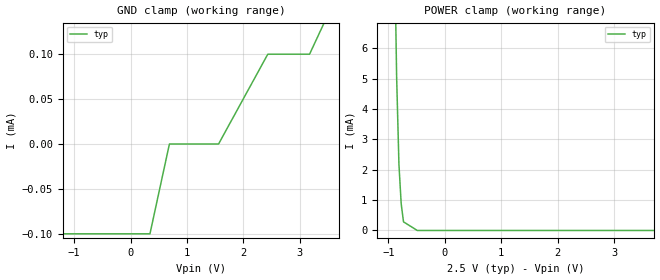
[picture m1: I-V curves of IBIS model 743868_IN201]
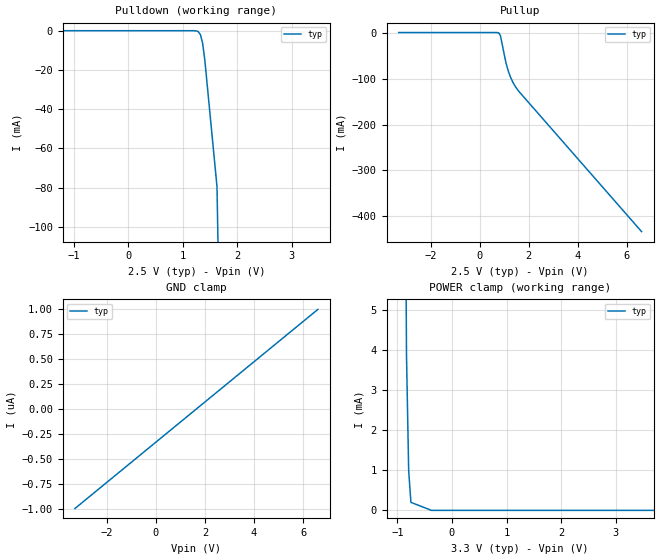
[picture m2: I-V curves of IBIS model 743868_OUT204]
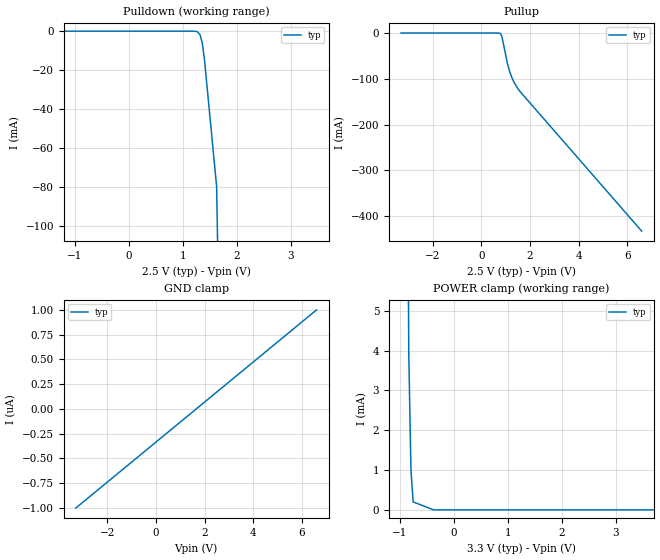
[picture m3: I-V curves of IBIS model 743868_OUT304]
| YOU ARE ONLY AUTHORIZED TO USE THIS SOFTWARE
| ACCORDING TO LICENSOR'S LICENSE RESTRICTIONS.
[IBIS Ver] 3.1
[File Name] nbsg16vsba400_25v.ibs
[File Rev] 1
[Source] Derived from nbsg16ba_33v.ibs Measured and created
|   by ICX Technology
[Date]  9/26/2002
[Copyright]
| (C) COPYRIGHT 1993-2001
| MENTOR GRAPHICS CORPORATION
| ICX STANDARD LIBRARY, ICX PROJECT MODELING,
| ICX CUSTOM MODELING, ICX VENDOR MODEL
| ALL RIGHTS RESERVED.
| THE FOLLOWING ARE TRADEMARKS OR SERVICE MARKS OF
| MENTOR GRAPHICS CORPORATION:ICX (R), ICX STANDARD
| LIBRARY(R), ICX PROJECT MODELING(R), ICX CUSTOM
| MODELING(R), qualityIBIS(TM), MODELVIEWER(TM),
| AND MODELEDITOR(TM)
| ALL COPIES OF SOFTWARE, INCLUDING BUT NOT LIMITED TO
| ANY MODIFICATIONS, ENHANCEMENTS OR DERIVATIVE WORKS,
| MUST CONTAIN ALL MENTOR GRAPHICS CORPORATION'S
| NOTICES AND LEGENDS, INCLUDING THOSE EMBEDDED IN
| SOFTWARE AND THOSE AFFIXED TO SOFTWARE MEDIUM
| AND CONTAINER, AS RECEIVED FROM MENTOR GRAPHICS
| CORPORATION.
|  ZAP Model Builder 3.2
[Component] NBSG16VSBA400_25V
[Manufacturer] OnSemico
[Package]
| variable   typ   min   max
R_pkg  .154ohms NA NA
L_pkg  1.727nH NA NA
C_pkg  1.114pF NA NA
[Pin] signal_name  model_name  R_pin  L_pin C_pin
A1 VEE POWER .163 1.78n 1.148p
A2 NC NC .158 1.726n 1.113p
A3 VCTRL 743868_IN201 .158 1.726n 1.113p
A4 VEE POWER .163 1.78n 1.148p
B1 D 743868_IN201 .149 1.726n 1.113p
B2 VTD NC .144 1.675n 1.08p
B3 VCC POWER .144 1.675n 1.08p
B4 Q 743868_OUT204 .149 1.726n 1.113p
C1 _D 743868_IN301 .149 1.726n 1.113p
C2 _VTD NC .144 1.675n 1.08p
C3 VCC POWER .144 1.675n 1.08p
C4 _Q 743868_OUT304 .149 1.726n 1.113p
D1 VEE POWER .163 1.78n 1.148p
D2 VBB POWER .158 1.726n 1.113p
D3 VMM NC .158 1.726n 1.113p
D4 VEE POWER .163 1.78n 1.148p
[Diff Pin] inv_pin vdiff tdelay_typ tdelay_min tdelay_max
B1 C1 200mv NA NA NA
B4 C4 NA 0.150ns NA NA
| Models and submodels in the file (4): 743868_IN201 (Input_ECL), 743868_IN301 (Input_ECL), 743868_OUT204 (Output_ECL), 743868_OUT304 (Output_ECL)
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| (C) COPYRIGHT 1993-2001
| MENTOR GRAPHICS CORPORATION
| ICX STANDARD LIBRARY, ICX PROJECT MODELING,
| ICX CUSTOM MODELING, ICX VENDOR MODEL
| ALL RIGHTS RESERVED.
| THE FOLLOWING ARE TRADEMARKS OR SERVICE MARKS OF
| MENTOR GRAPHICS CORPORATION:ICX (R), ICX STANDARD
| LIBRARY(R), ICX PROJECT MODELING(R), ICX CUSTOM
| MODELING(R), qualityIBIS(TM), MODELVIEWER(TM),
| AND MODELEDITOR(TM)
| ALL COPIES OF SOFTWARE, INCLUDING BUT NOT LIMITED TO
| ANY MODIFICATIONS, ENHANCEMENTS OR DERIVATIVE WORKS,
| MUST CONTAIN ALL MENTOR GRAPHICS CORPORATION'S
| NOTICES AND LEGENDS, INCLUDING THOSE EMBEDDED IN
| SOFTWARE AND THOSE AFFIXED TO SOFTWARE MEDIUM
| AND CONTAINER, AS RECEIVED FROM MENTOR GRAPHICS
| CORPORATION.
| Model Application Version 1.89 2/18/99.
[Model] 743868_IN201
Model_type Input_ECL
Vinl = 1.000V
Vinh = 1.400V
C_comp 500.0fF NA NA
| variable typ   min   max
[Voltage Range] 2.500V NA NA
[GND Clamp Reference] 0.000V NA NA
[POWER Clamp Reference] 2.500V NA NA
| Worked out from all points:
|   POWER clamp passes 1 mA (typ) near -0.78 V on its own axis
[GND Clamp]
-3.3V     -100uA     NA         NA
344.5mV   -100uA     NA         NA
689mV     0A         NA         NA
1.56V     0A         NA         NA
2.432V    100uA      NA         NA
3.172V    100uA      NA         NA
6.6V      563.2uA    NA         NA
[POWER Clamp]
-3.3V     292mA      NA         NA
-855mV    5.067mA    NA         NA
-814mV    2.173mA    NA         NA
-774mV    878.1uA    NA         NA
-733mV    283.6uA    NA         NA
-488.7mV  0A         NA         NA
6.6V      0A         NA         NA
| (C) COPYRIGHT 1993-2001
| MENTOR GRAPHICS CORPORATION
| ICX STANDARD LIBRARY, ICX PROJECT MODELING,
| ICX CUSTOM MODELING, ICX VENDOR MODEL
| ALL RIGHTS RESERVED.
| THE FOLLOWING ARE TRADEMARKS OR SERVICE MARKS OF
| MENTOR GRAPHICS CORPORATION:ICX (R), ICX STANDARD
| LIBRARY(R), ICX PROJECT MODELING(R), ICX CUSTOM
| MODELING(R), qualityIBIS(TM), MODELVIEWER(TM),
| AND MODELEDITOR(TM)
| ALL COPIES OF SOFTWARE, INCLUDING BUT NOT LIMITED TO
| ANY MODIFICATIONS, ENHANCEMENTS OR DERIVATIVE WORKS,
| MUST CONTAIN ALL MENTOR GRAPHICS CORPORATION'S
| NOTICES AND LEGENDS, INCLUDING THOSE EMBEDDED IN
| SOFTWARE AND THOSE AFFIXED TO SOFTWARE MEDIUM
| AND CONTAINER, AS RECEIVED FROM MENTOR GRAPHICS
| CORPORATION.
| Model Application Version 1.89 2/18/99.
[Model] 743868_OUT204
Model_type Output_ECL
Vref=0.500V
Rref=50.00ohms
Cref=0.000F
Vmeas=1.140V
C_comp 500.0fF NA NA
| variable typ   min   max
[Voltage Range] 2.500V NA NA
[POWER Clamp Reference] 3.300V NA NA
[Pullup Reference] 2.500V NA NA
[Pulldown Reference] 2.500V NA NA
[GND Clamp Reference] 0.000V NA NA
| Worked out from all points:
|   POWER clamp passes 1 mA (typ) near -0.79 V on its own axis
[GND Clamp]
-3.3V     -1uA       NA         NA
6.6V      1uA        NA         NA
[Pulldown]
-3.3V     0A         NA         NA
1.202V    0A         NA         NA
1.263V    -200uA     NA         NA
1.283V    -500uA     NA         NA
1.324V    -2mA       NA         NA
1.364V    -6.3mA     NA         NA
1.405V    -15.1mA    NA         NA
1.628V    -79.5mA    NA         NA
6.6V      -7.979A    NA         NA
[Pullup]
-3.3V     0A         NA         NA
686mV     0A         NA         NA
746mV     -300uA     NA         NA
787mV     -1.3mA     NA         NA
848mV     -7.1mA     NA         NA
1.071V    -65.6mA    NA         NA
1.172V    -84.7mA    NA         NA
1.253V    -96.5mA    NA         NA
1.354V    -108.2mA   NA         NA
1.456V    -117.6mA   NA         NA
1.577V    -126.7mA   NA         NA
6.6V      -433mA     NA         NA
[POWER Clamp]
-3.3V     606.2mA    NA         NA
-834mV    3.9mA      NA         NA
-794mV    1mA        NA         NA
-753mV    200uA      NA         NA
-376.5mV  0A         NA         NA
6.6V      0A         NA         NA
[Ramp]
| variable typ min max
dV/dt_r 268.0m/38.78p NA NA
dV/dt_f 268.0m/31.06p NA NA
R_load = 50.00Ohms
| (C) COPYRIGHT 1993-2001
| MENTOR GRAPHICS CORPORATION
| ICX STANDARD LIBRARY, ICX PROJECT MODELING,
| ICX CUSTOM MODELING, ICX VENDOR MODEL
| ALL RIGHTS RESERVED.
| THE FOLLOWING ARE TRADEMARKS OR SERVICE MARKS OF
| MENTOR GRAPHICS CORPORATION:ICX (R), ICX STANDARD
| LIBRARY(R), ICX PROJECT MODELING(R), ICX CUSTOM
| MODELING(R), qualityIBIS(TM), MODELVIEWER(TM),
| AND MODELEDITOR(TM)
| ALL COPIES OF SOFTWARE, INCLUDING BUT NOT LIMITED TO
| ANY MODIFICATIONS, ENHANCEMENTS OR DERIVATIVE WORKS,
| MUST CONTAIN ALL MENTOR GRAPHICS CORPORATION'S
| NOTICES AND LEGENDS, INCLUDING THOSE EMBEDDED IN
| SOFTWARE AND THOSE AFFIXED TO SOFTWARE MEDIUM
| AND CONTAINER, AS RECEIVED FROM MENTOR GRAPHICS
| CORPORATION.
| Model Application Version 1.89 2/18/99.
[Model] 743868_OUT304
Model_type Output_ECL
Vref=0.500V
Rref=50.00ohms
Cref=0.000F
Vmeas=1.1400V
C_comp 500.0fF NA NA
| variable typ   min   max
[Voltage Range] 2.500V NA NA
[POWER Clamp Reference] 3.300V NA NA
[Pullup Reference] 2.500V NA NA
[Pulldown Reference] 2.500V NA NA
[GND Clamp Reference] 0.000V NA NA
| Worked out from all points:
|   POWER clamp passes 1 mA (typ) near -0.79 V on its own axis
[GND Clamp]
-3.3V     -1uA       NA         NA
6.6V      1uA        NA         NA
[Pulldown]
-3.3V     0A         NA         NA
1.202V    0A         NA         NA
1.263V    -200uA     NA         NA
1.283V    -500uA     NA         NA
1.324V    -2mA       NA         NA
1.364V    -6.3mA     NA         NA
1.405V    -15.1mA    NA         NA
1.628V    -79.5mA    NA         NA
6.6V      -7.979A    NA         NA
[Pullup]
-3.3V     0A         NA         NA
686mV     0A         NA         NA
746mV     -300uA     NA         NA
787mV     -1.3mA     NA         NA
848mV     -7.1mA     NA         NA
1.071V    -65.6mA    NA         NA
1.172V    -84.7mA    NA         NA
1.253V    -96.5mA    NA         NA
1.354V    -108.2mA   NA         NA
1.456V    -117.6mA   NA         NA
1.577V    -126.7mA   NA         NA
6.6V      -433mA     NA         NA
[POWER Clamp]
-3.3V     606.2mA    NA         NA
-834mV    3.9mA      NA         NA
-794mV    1mA        NA         NA
-753mV    200uA      NA         NA
-376.5mV  0A         NA         NA
6.6V      0A         NA         NA
[Ramp]
| variable typ min max
dV/dt_r 268.0m/38.78p NA NA
dV/dt_f 268.0m/31.06p NA NA
R_load = 50.00Ohms
